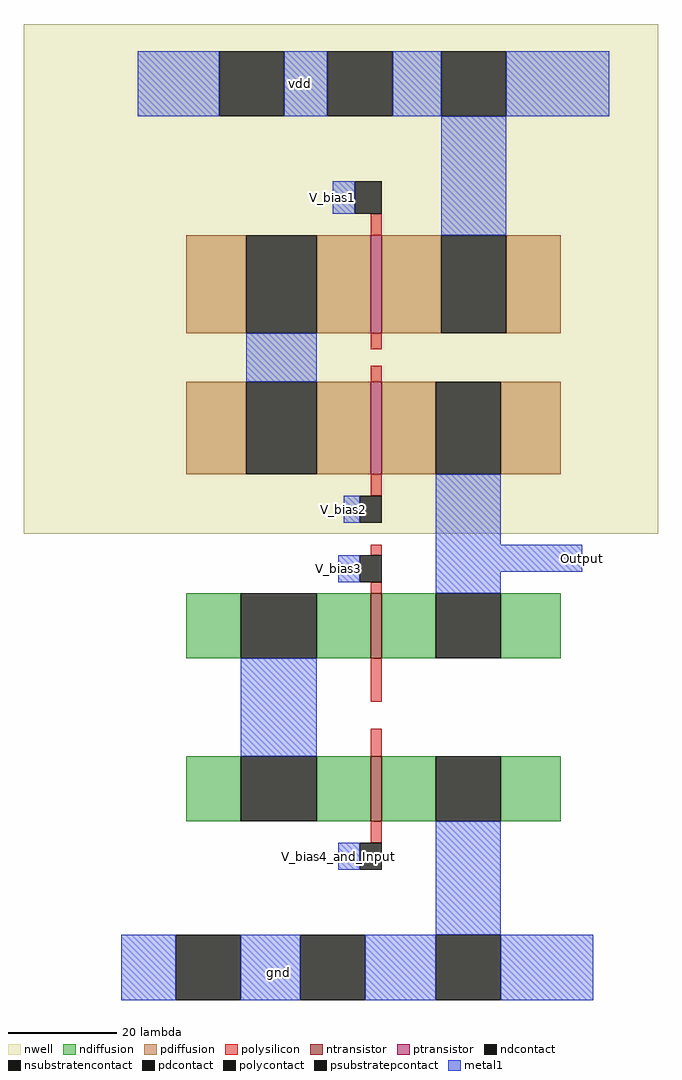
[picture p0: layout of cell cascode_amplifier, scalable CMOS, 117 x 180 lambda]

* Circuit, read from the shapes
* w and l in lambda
.subckt cascode_amplifier Output V_bias1 V_bias2 V_bias3 V_bias4_and_Input gnd vdd
M1 gnd V_bias4_and_Input n1 gnd nfet w=12 l=2
M2 Output V_bias3 n1 gnd nfet w=12 l=2
M3 Output V_bias2 n2 vdd pfet w=17 l=2
M4 vdd V_bias1 n2 vdd pfet w=18 l=2
.ends

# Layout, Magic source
magic
tech scmos
<< nwell >>
rect -48 -21 69 73
<< ntransistor >>
rect 16 -44 18 -32
rect 16 -74 18 -62
<< ptransistor >>
rect 16 16 18 34
rect 16 -10 18 7
<< ndiffusion >>
rect -18 -44 -8 -32
rect 6 -44 16 -32
rect 18 -44 28 -32
rect 40 -44 51 -32
rect -18 -74 -8 -62
rect 6 -74 16 -62
rect 18 -74 28 -62
rect 40 -74 51 -62
<< pdiffusion >>
rect -18 16 -7 34
rect 6 16 16 34
rect 18 16 29 34
rect 41 16 51 34
rect -18 -10 -7 7
rect 6 -10 16 7
rect 18 -10 28 7
rect 40 -10 51 7
<< ndcontact >>
rect -8 -44 6 -32
rect 28 -44 40 -32
rect -8 -74 6 -62
rect 28 -74 40 -62
<< pdcontact >>
rect -7 16 6 34
rect 29 16 41 34
rect -7 -10 6 7
rect 28 -10 40 7
<< psubstratepcontact >>
rect -20 -107 -8 -95
rect 3 -107 15 -95
rect 28 -107 40 -95
<< nsubstratencontact >>
rect -12 56 0 68
rect 8 56 20 68
rect 29 56 41 68
<< polysilicon >>
rect 16 34 18 38
rect 16 13 18 16
rect 16 7 18 10
rect 16 -14 18 -10
rect 16 -25 18 -23
rect 16 -32 18 -30
rect 16 -52 18 -44
rect 16 -62 18 -57
rect 16 -78 18 -74
<< polycontact >>
rect 13 38 18 44
rect 14 -19 18 -14
rect 14 -30 18 -25
rect 14 -83 18 -78
<< metal1 >>
rect -27 56 -12 68
rect 0 56 8 68
rect 20 56 29 68
rect 41 56 60 68
rect 9 38 13 44
rect 29 34 41 56
rect -7 7 6 16
rect 11 -19 14 -14
rect 28 -23 40 -10
rect 10 -30 14 -25
rect 28 -28 55 -23
rect 28 -32 40 -28
rect -8 -62 6 -44
rect 10 -83 14 -78
rect 28 -95 40 -74
rect -30 -107 -20 -95
rect -8 -107 3 -95
rect 15 -107 28 -95
rect 40 -107 57 -95
<< labels >>
rlabel metal1 3 62 3 62 1 vdd
rlabel metal1 9 38 9 44 1 V_bias1
rlabel metal1 11 -19 11 -14 1 V_bias2
rlabel metal1 10 -30 10 -25 1 V_bias3
rlabel metal1 10 -83 10 -78 1 V_bias4_and_Input
rlabel metal1 55 -28 55 -23 1 Output
rlabel metal1 -1 -102 -1 -102 1 gnd
<< end >>
